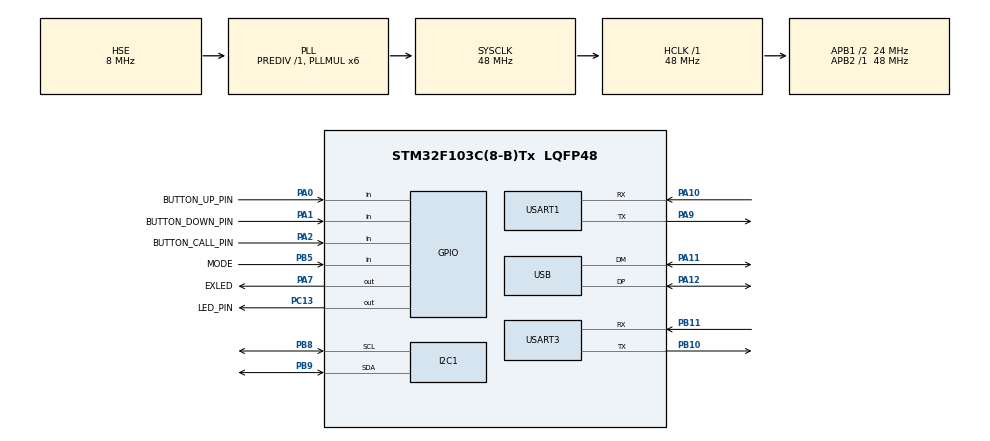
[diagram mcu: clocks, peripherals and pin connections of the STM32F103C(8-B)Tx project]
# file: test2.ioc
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Dma.I2C1_RX.1.Direction=DMA_PERIPH_TO_MEMORY
Dma.I2C1_RX.1.Instance=DMA1_Channel7
Dma.I2C1_RX.1.MemDataAlignment=DMA_MDATAALIGN_BYTE
Dma.I2C1_RX.1.MemInc=DMA_MINC_ENABLE
Dma.I2C1_RX.1.Mode=DMA_NORMAL
Dma.I2C1_RX.1.PeriphDataAlignment=DMA_PDATAALIGN_BYTE
Dma.I2C1_RX.1.PeriphInc=DMA_PINC_DISABLE
Dma.I2C1_RX.1.Priority=DMA_PRIORITY_LOW
Dma.I2C1_TX.0.Direction=DMA_MEMORY_TO_PERIPH
Dma.I2C1_TX.0.Instance=DMA1_Channel6
Dma.I2C1_TX.0.MemDataAlignment=DMA_MDATAALIGN_BYTE
Dma.I2C1_TX.0.MemInc=DMA_MINC_ENABLE
Dma.I2C1_TX.0.Mode=DMA_NORMAL
Dma.I2C1_TX.0.PeriphDataAlignment=DMA_PDATAALIGN_BYTE
Dma.I2C1_TX.0.PeriphInc=DMA_PINC_DISABLE
Dma.I2C1_TX.0.Priority=DMA_PRIORITY_LOW
Dma.Request0=I2C1_TX
Dma.Request1=I2C1_RX
Mcu.Family=STM32F1
Mcu.Name=STM32F103C(8-B)Tx
Mcu.Package=LQFP48
NVIC.DMA1_Channel6_IRQn=true\:0\:0\:false\:false\:true\:false
NVIC.DMA1_Channel7_IRQn=true\:0\:0\:false\:false\:true\:false
NVIC.I2C1_ER_IRQn=true\:0\:0\:false\:false\:true\:true
NVIC.I2C1_EV_IRQn=true\:0\:0\:false\:false\:true\:true
NVIC.PriorityGroup=NVIC_PRIORITYGROUP_4
NVIC.USART1_IRQn=true\:0\:0\:false\:false\:true\:true
NVIC.USART3_IRQn=true\:0\:0\:false\:false\:true\:true
PA0-WKUP.GPIO_Label=BUTTON_UP_PIN
PA0-WKUP.Signal=GPIO_Input
PA1.GPIO_Label=BUTTON_DOWN_PIN
PA1.Signal=GPIO_Input
PA10.Mode=Asynchronous
PA10.Signal=USART1_RX
PA11.Mode=Device
PA11.Signal=USB_DM
PA12.Mode=Device
PA12.Signal=USB_DP
PA13.Mode=Serial_Wire
PA13.Signal=SYS_JTMS-SWDIO
PA14.Mode=Serial_Wire
PA14.Signal=SYS_JTCK-SWCLK
PA2.GPIO_Label=BUTTON_CALL_PIN
PA2.Signal=GPIO_Input
PA7.GPIO_Label=EXLED
PA7.Signal=GPIO_Output
PA9.Mode=Asynchronous
PA9.Signal=USART1_TX
PB10.Mode=Asynchronous
PB10.Signal=USART3_TX
PB11.Mode=Asynchronous
PB11.Signal=USART3_RX
PB5.GPIO_Label=MODE
PB5.Signal=GPIO_Input
PB8.Mode=I2C
PB8.Signal=I2C1_SCL
PB9.Mode=I2C
PB9.Signal=I2C1_SDA
PC13-TAMPER-RTC.GPIO_Label=LED_PIN
PC13-TAMPER-RTC.Signal=GPIO_Output
PD0-OSC_IN.Mode=HSE-External-Oscillator
PD0-OSC_IN.Signal=RCC_OSC_IN
PD1-OSC_OUT.Mode=HSE-External-Oscillator
PD1-OSC_OUT.Signal=RCC_OSC_OUT
ProjectManager.HeapSize=0x200
ProjectManager.StackSize=0x400
ProjectManager.TargetToolchain=SW4STM32
RCC.AHBFreq_Value=48000000
RCC.APB1CLKDivider=RCC_HCLK_DIV2
RCC.APB1Freq_Value=24000000
RCC.APB1TimFreq_Value=48000000
RCC.APB2Freq_Value=48000000
RCC.APB2TimFreq_Value=48000000
RCC.HCLKFreq_Value=48000000
RCC.PLLMUL=RCC_PLL_MUL6
RCC.PLLSourceVirtual=RCC_PLLSOURCE_HSE
RCC.SYSCLKFreq_VALUE=48000000
RCC.SYSCLKSource=RCC_SYSCLKSOURCE_PLLCLK
RCC.USBFreq_Value=48000000
USART1.VirtualMode=VM_ASYNC
USART3.VirtualMode=VM_ASYNC
board=custom

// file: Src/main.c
/**
  ******************************************************************************
  * @file           : main.c
  * @brief          : Main program body
  ******************************************************************************
  ** This notice applies to any and all portions of this file
  * that are not between comment pairs USER CODE BEGIN and
  * USER CODE END. Other portions of this file, whether
  * inserted by the user or by software development tools
  * are owned by their respective copyright owners.
  *
  * COPYRIGHT(c) 2020 STMicroelectronics
  *
  * Redistribution and use in source and binary forms, with or without modification,
  * are permitted provided that the following conditions are met:
  *   1. Redistributions of source code must retain the above copyright notice,
  *      this list of conditions and the following disclaimer.
  *   2. Redistributions in binary form must reproduce the above copyright notice,
  *      this list of conditions and the following disclaimer in the documentation
  *      and/or other materials provided with the distribution.
  *   3. Neither the name of STMicroelectronics nor the names of its contributors
  *      may be used to endorse or promote products derived from this software
  *      without specific prior written permission.
  *
  * THIS SOFTWARE IS PROVIDED BY THE COPYRIGHT HOLDERS AND CONTRIBUTORS "AS IS"
  * AND ANY EXPRESS OR IMPLIED WARRANTIES, INCLUDING, BUT NOT LIMITED TO, THE
  * IMPLIED WARRANTIES OF MERCHANTABILITY AND FITNESS FOR A PARTICULAR PURPOSE ARE
  * DISCLAIMED. IN NO EVENT SHALL THE COPYRIGHT HOLDER OR CONTRIBUTORS BE LIABLE
  * FOR ANY DIRECT, INDIRECT, INCIDENTAL, SPECIAL, EXEMPLARY, OR CONSEQUENTIAL
  * DAMAGES (INCLUDING, BUT NOT LIMITED TO, PROCUREMENT OF SUBSTITUTE GOODS OR
  * SERVICES; LOSS OF USE, DATA, OR PROFITS; OR BUSINESS INTERRUPTION) HOWEVER
  * CAUSED AND ON ANY THEORY OF LIABILITY, WHETHER IN CONTRACT, STRICT LIABILITY,
  * OR TORT (INCLUDING NEGLIGENCE OR OTHERWISE) ARISING IN ANY WAY OUT OF THE USE
  * OF THIS SOFTWARE, EVEN IF ADVISED OF THE POSSIBILITY OF SUCH DAMAGE.
  *
  ******************************************************************************
  */
#include "main.h"
#include "stm32f1xx_hal.h"
#include "dma.h"
#include "i2c.h"
#include "usart.h"
#include "usb.h"
#include "gpio.h"
#include "mode.h"
/* USER CODE BEGIN Includes */
#include "i2c-lcd.h"
#include "stdbool.h"
/* USER CODE END Includes */

/* USER CODE BEGIN PV */
/* Private variables ---------------------------------------------------------*/

/* USER CODE END PV */

void SystemClock_Config(void);

/* USER CODE BEGIN PFP */
/* Private function prototypes -----------------------------------------------*/

/* USER CODE END PFP */

/* USER CODE BEGIN 0 */
uint8_t GSM_DATA[] = "AT\r";
uint8_t receive_data[DATA_LENGTH]="";
/* USER CODE END 0 */

int main(void)
{

  /* MCU Configuration----------------------------------------------------------*/

  /* Reset of all peripherals, Initializes the Flash interface and the Systick. */
  HAL_Init();

  /* Configure the system clock */
  SystemClock_Config();

  /* Initialize all configured peripherals */
  MX_GPIO_Init();
  MX_DMA_Init();
  MX_I2C1_Init();
  MX_USART1_UART_Init();
  MX_USB_PCD_Init();
  MX_USART3_UART_Init();
  /* USER CODE BEGIN 2 */
  HAL_Delay(1000);
  lcd_init();
  lcd_send_string("SyStEm sTaRtInG");
  HAL_Delay(2000);
  lcd_send_cmd (0x01);
  HAL_Delay(100);

  while(EEPROM24XX_IsConnected()==false)
  	{
  		HAL_Delay(100);
  	}

  //HAL_UART_Transmit(&huart3, GSM_DATA, strlen(GSM_DATA), 1000);
  //clear_eeprom();
  //EEPROM24XX_Load(NUMBER_STARTADD+48, data, DATA_LENGTH);
  /* USER CODE END 2 */

  /* Infinite loop */
  /* USER CODE BEGIN WHILE */

  //Initialize EEPROM
  while (1)
  {

	  HAL_UART_Transmit(&huart3, GSM_DATA, strlen(GSM_DATA), 1000);
	  HAL_UART_Receive(&huart3, receive_data, DATA_LENGTH, 5000);
	  //HAL_UART_Transmit_IT(&huart3, GSM_DATA, strlen(GSM_DATA));
	  //HAL_UART_Receive_IT(&huart3, receive_data, DATA_LENGTH);
	  lcd_name_surname("test", receive_data);
	  HAL_Delay(2000);
	  lcd_clear();
	 /*if(HAL_GPIO_ReadPin(MODE_GPIO_Port, MODE_Pin) == GPIO_PIN_SET){
		  configuration_mode();
	  }
	  else{
		  working_mode();
	  }*/
	  /*
	  HAL_UART_Transmit(&huart3, check_BT, strlen(check_BT), 100);
	  HAL_UART_Receive(&huart3, data, strlen(data), 100);
	  lcd_name_surname("test", "thfth");
	  HAL_Delay(100);*/
	  //lcd_name_surname("test", data);

	  //successfully_added_lcd();

  /* USER CODE END WHILE */

  }

}

void SystemClock_Config(void)
{

  RCC_OscInitTypeDef RCC_OscInitStruct;
  RCC_ClkInitTypeDef RCC_ClkInitStruct;
  RCC_PeriphCLKInitTypeDef PeriphClkInit;

    /**Initializes the CPU, AHB and APB busses clocks
    */
  RCC_OscInitStruct.OscillatorType = RCC_OSCILLATORTYPE_HSE;
  RCC_OscInitStruct.HSEState = RCC_HSE_ON;
  RCC_OscInitStruct.HSEPredivValue = RCC_HSE_PREDIV_DIV1;
  RCC_OscInitStruct.HSIState = RCC_HSI_ON;
  RCC_OscInitStruct.PLL.PLLState = RCC_PLL_ON;
  RCC_OscInitStruct.PLL.PLLSource = RCC_PLLSOURCE_HSE;
  RCC_OscInitStruct.PLL.PLLMUL = RCC_PLL_MUL6;
  if (HAL_RCC_OscConfig(&RCC_OscInitStruct) != HAL_OK)
  {
    _Error_Handler(__FILE__, __LINE__);
  }

    /**Initializes the CPU, AHB and APB busses clocks
    */
  RCC_ClkInitStruct.ClockType = RCC_CLOCKTYPE_HCLK|RCC_CLOCKTYPE_SYSCLK
                              |RCC_CLOCKTYPE_PCLK1|RCC_CLOCKTYPE_PCLK2;
  RCC_ClkInitStruct.SYSCLKSource = RCC_SYSCLKSOURCE_PLLCLK;
  RCC_ClkInitStruct.AHBCLKDivider = RCC_SYSCLK_DIV1;
  RCC_ClkInitStruct.APB1CLKDivider = RCC_HCLK_DIV2;
  RCC_ClkInitStruct.APB2CLKDivider = RCC_HCLK_DIV1;

  if (HAL_RCC_ClockConfig(&RCC_ClkInitStruct, FLASH_LATENCY_1) != HAL_OK)
  {
    _Error_Handler(__FILE__, __LINE__);
  }

  PeriphClkInit.PeriphClockSelection = RCC_PERIPHCLK_USB;
  PeriphClkInit.UsbClockSelection = RCC_USBCLKSOURCE_PLL;
  if (HAL_RCCEx_PeriphCLKConfig(&PeriphClkInit) != HAL_OK)
  {
    _Error_Handler(__FILE__, __LINE__);
  }

    /**Configure the Systick interrupt time
    */
  HAL_SYSTICK_Config(HAL_RCC_GetHCLKFreq()/1000);

    /**Configure the Systick
    */
  HAL_SYSTICK_CLKSourceConfig(SYSTICK_CLKSOURCE_HCLK);

  /* SysTick_IRQn interrupt configuration */
  HAL_NVIC_SetPriority(SysTick_IRQn, 0, 0);
}

/* USER CODE BEGIN 4 */
void HAL_UART_RxCpltCallback(UART_HandleTypeDef *huart){
	__NOP();
}
void HAL_UART_TxCpltCallback(UART_HandleTypeDef *huart){
	__NOP();
}
/* USER CODE END 4 */

void _Error_Handler(char *file, int line)
{
  while(1)
  {
  }
}

/************************ (C) COPYRIGHT STMicroelectronics *****END OF FILE****/
